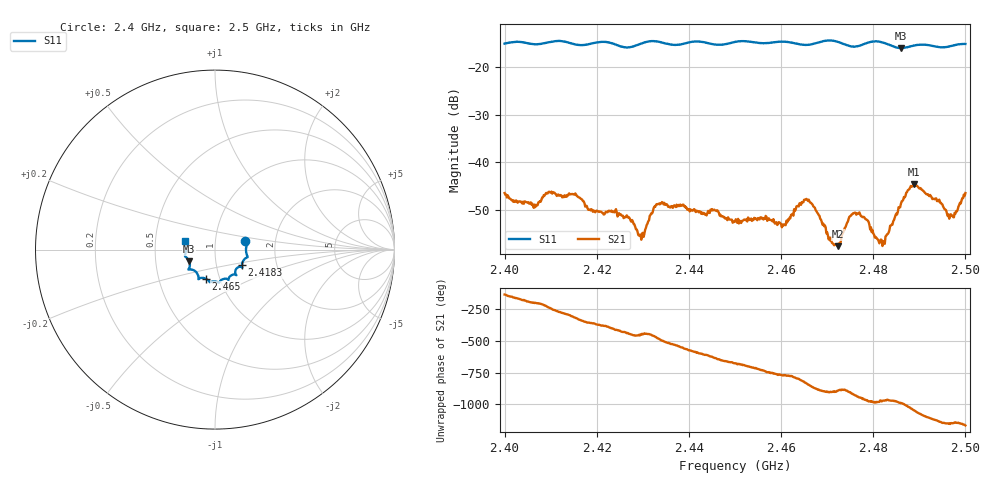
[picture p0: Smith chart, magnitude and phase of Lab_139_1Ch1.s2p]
# Hz S RI R
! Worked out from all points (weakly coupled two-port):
!   601 points, 2.4 GHz to 2.5 GHz, reference 50 ohm
!   highest |S21| = -44.53 dB at 2.4888 GHz (marker M1); lowest = -57.5 dB at 2.4723 GHz (marker M2)
!   lowest |S11| = -16.1 dB at 2.486 GHz (marker M3), VSWR 1.37, Z = 37.2 - j4.94 ohm
!   |S11| at or under -10 dB: start of sweep to end of sweep
!   S12 and S22 are empty: the file has one direction only
!   S11 on the Smith chart (normalised r, x): 2.4 GHz: 1.40, +0.13; 2.4183 GHz: 1.33, -0.24; 2.465 GHz: 0.86, -0.29; 2.5 GHz: 0.71, +0.07
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2.4e9  0.1692 0.0457  -0.00332 -0.00344  0 0  0 0
2.406667e9  0.1723 0.00106  -0.00322 0.00111  0 0  0 0
2.409667e9  0.1783 -0.0328  -0.00262 0.00418  0 0  0 0
2.416667e9  0.1547 -0.0679  0.00385 0.00151  0 0  0 0
2.418333e9  0.1499 -0.087  0.00318 0.000303  0 0  0 0
2.426667e9  0.1202 -0.1053  0.000649 -0.00265  0 0  0 0
2.429667e9  0.113 -0.1347  4.9e-06 -0.00155  0 0  0 0
2.433333e9  0.1176 -0.141  -0.00183 -0.00319  0 0  0 0
2.45e9  0.025 -0.1809  0.00172 0.00169  0 0  0 0
2.4605e9  -0.0288 -0.1817  0.00135 -0.00173  0 0  0 0
2.465e9  -0.0525 -0.1616  -0.000833 -0.00398  0 0  0 0
2.466667e9  -0.0714 -0.1571  -0.00287 -0.00233  0 0  0 0
2.470667e9  -0.0918 -0.1652  -0.00152 7.25e-06  0 0  0 0
2.472333e9  -0.0912 -0.1587  -0.00131 -0.000205  0 0  0 0
2.475667e9  -0.1068 -0.1232  -0.00275 0.00107  0 0  0 0
2.4785e9  -0.138 -0.1107  -0.000965 0.00234  0 0  0 0
2.4815e9  -0.147 -0.1089  -0.000547 0.00142  0 0  0 0
2.483333e9  -0.1414 -0.0965  -0.000699 0.0017  0 0  0 0
2.486e9  -0.1433 -0.0648  -1.45e-05 0.00368  0 0  0 0
2.488833e9  -0.1621 -0.0417  0.00491 0.00333  0 0  0 0
2.497e9  -0.1634 0.0277  0.00108 -0.00254  0 0  0 0
2.5e9  -0.1674 0.0467  0.00036 -0.00477  0 0  0 0
